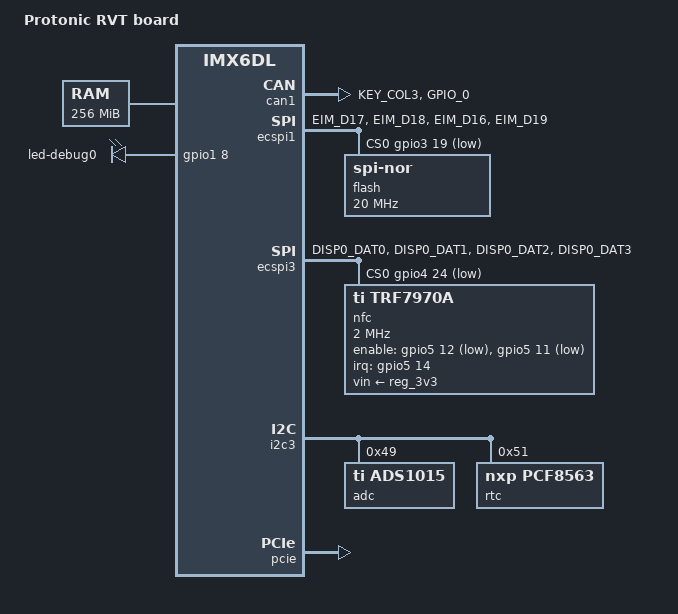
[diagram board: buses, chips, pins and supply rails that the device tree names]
// SPDX-License-Identifier: GPL-2.0-or-later OR MIT
/*
 * Copyright (c) 2014 Protonic Holland
 */

/dts-v1/;
#include "imx6dl.dtsi"
#include "imx6qdl-prti6q.dtsi"
#include <dt-bindings/leds/common.h>

/ {
	model = "Protonic RVT board";
	compatible = "prt,prtrvt", "fsl,imx6dl";

	memory@10000000 {
		device_type = "memory";
		reg = <0x10000000 0x10000000>;
	};

	leds {
		compatible = "gpio-leds";
		pinctrl-names = "default";
		pinctrl-0 = <&pinctrl_leds>;

		led-debug0 {
			function = LED_FUNCTION_STATUS;
			gpios = <&gpio1 8 GPIO_ACTIVE_HIGH>;
			linux,default-trigger = "heartbeat";
		};
	};
};

&can1 {
	pinctrl-names = "default";
	pinctrl-0 = <&pinctrl_can1 &pinctrl_can1phy>;
	status = "okay";
};

&ecspi1 {
	cs-gpios = <&gpio3 19 GPIO_ACTIVE_LOW>;
	pinctrl-names = "default";
	pinctrl-0 = <&pinctrl_ecspi1>;
	status = "okay";

	flash@0 {
		compatible = "jedec,spi-nor";
		reg = <0>;
		spi-max-frequency = <20000000>;
		#address-cells = <1>;
		#size-cells = <1>;
	};
};

&ecspi3 {
	cs-gpios = <&gpio4 24 GPIO_ACTIVE_LOW>;
	pinctrl-names = "default";
	pinctrl-0 = <&pinctrl_ecspi3>;
	status = "okay";

	nfc@0 {
		compatible = "ti,trf7970a";
		reg = <0>;
		pinctrl-names = "default";
		pinctrl-0 = <&pinctrl_nfc>;
		spi-max-frequency = <2000000>;
		interrupts-extended = <&gpio5 14 IRQ_TYPE_LEVEL_LOW>;
		ti,enable-gpios = <&gpio5 12 GPIO_ACTIVE_LOW>,
				  <&gpio5 11 GPIO_ACTIVE_LOW>;
		vin-supply = <&reg_3v3>;
		vin-voltage-override = <3100000>;
		autosuspend-delay = <30000>;
		irq-status-read-quirk;
		en2-rf-quirk;
		t5t-rmb-extra-byte-quirk;
		status = "okay";
	};
};

&i2c3 {
	adc@49 {
		compatible = "ti,ads1015";
		reg = <0x49>;
		#address-cells = <1>;
		#size-cells = <0>;

		/* nc */
		channel@4 {
			reg = <4>;
			ti,gain = <3>;
			ti,datarate = <3>;
		};

		/* nc */
		channel@5 {
			reg = <5>;
			ti,gain = <3>;
			ti,datarate = <3>;
		};

		/* can1_l */
		channel@6 {
			reg = <6>;
			ti,gain = <3>;
			ti,datarate = <3>;
		};

		/* can1_h */
		channel@7 {
			reg = <7>;
			ti,gain = <3>;
			ti,datarate = <3>;
		};
	};

	rtc@51 {
		compatible = "nxp,pcf8563";
		reg = <0x51>;
	};
};

&pcie {
	status = "okay";
};

&usbh1 {
	status = "disabled";
};

&vpu {
	status = "disabled";
};

&iomuxc {
	pinctrl_can1phy: can1phy {
		fsl,pins = <
			/* CAN1_SR */
			MX6QDL_PAD_KEY_COL3__GPIO4_IO12	0x13070
			/* CAN1_TERM */
			MX6QDL_PAD_GPIO_0__GPIO1_IO00	0x1b0b0
		>;
	};

	pinctrl_ecspi1: ecspi1grp {
		fsl,pins = <
			MX6QDL_PAD_EIM_D17__ECSPI1_MISO		0x100b1
			MX6QDL_PAD_EIM_D18__ECSPI1_MOSI		0x100b1
			MX6QDL_PAD_EIM_D16__ECSPI1_SCLK		0x100b1
			/* CS */
			MX6QDL_PAD_EIM_D19__GPIO3_IO19		0x000b1
		>;
	};

	pinctrl_ecspi3: ecspi3grp {
		fsl,pins = <
			MX6QDL_PAD_DISP0_DAT0__ECSPI3_SCLK	0x100b1
			MX6QDL_PAD_DISP0_DAT1__ECSPI3_MOSI	0x100b1
			MX6QDL_PAD_DISP0_DAT2__ECSPI3_MISO	0x100b1
			MX6QDL_PAD_DISP0_DAT3__GPIO4_IO24	0x000b1
		>;
	};

	pinctrl_leds: ledsgrp {
		fsl,pins = <
			MX6QDL_PAD_GPIO_8__GPIO1_IO08		0x1b0b0
		>;
	};

	pinctrl_nfc: nfcgrp {
		fsl,pins = <
			/* NFC_ASK_OOK */
			MX6QDL_PAD_DISP0_DAT15__GPIO5_IO09	0x100b1
			/* NFC_PWR_EN */
			MX6QDL_PAD_DISP0_DAT16__GPIO5_IO10	0x100b1
			/* NFC_EN2 */
			MX6QDL_PAD_DISP0_DAT17__GPIO5_IO11	0x100b1
			/* NFC_EN */
			MX6QDL_PAD_DISP0_DAT18__GPIO5_IO12	0x100b1
			/* NFC_MOD */
			MX6QDL_PAD_DISP0_DAT19__GPIO5_IO13	0x100b1
			/* NFC_IRQ */
			MX6QDL_PAD_DISP0_DAT20__GPIO5_IO14	0x100b1
		>;
	};
};
